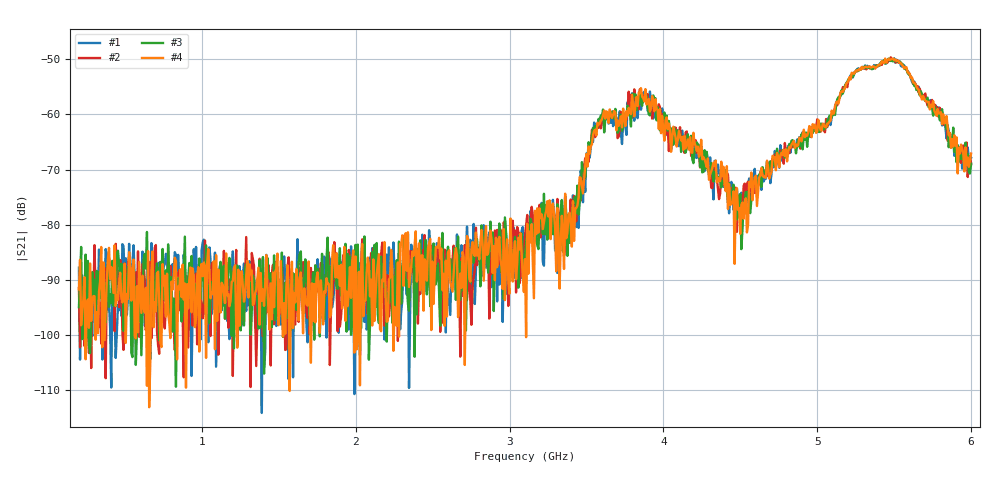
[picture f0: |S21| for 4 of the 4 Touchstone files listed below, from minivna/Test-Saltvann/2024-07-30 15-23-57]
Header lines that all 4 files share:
! NanoVNA-App by OneOfEleven et al v1.1.209 (+OD15)
! Start: 200MHz Stop: 6GHz Points: 801
! S-Parameter data: F S11 S21 S12 S22
# Hz S RI R 50
!  Frequency  S11_Real  S11_Imag  S21_Real  S21_Imag  S12_Real  S12_Imag  S22_Real  S22_Imag
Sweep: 200 MHz to 6 GHz
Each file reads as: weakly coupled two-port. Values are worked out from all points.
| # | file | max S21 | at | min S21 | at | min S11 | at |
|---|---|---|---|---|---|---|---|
| 1 | 0.s2p | -49.80 dB | 5.5 GHz | -114.2 dB | 1.389 GHz | -5.9 dB | 2.941 GHz |
| 2 | 3.s2p | -49.61 dB | 5.478 GHz | -109.5 dB | 1.317 GHz | -5.9 dB | 2.948 GHz |
| 3 | 5.s2p | -49.85 dB | 5.463 GHz | -109.4 dB | 830.8 MHz | -5.9 dB | 2.948 GHz |
| 4 | 7.s2p | -49.84 dB | 5.442 GHz | -113.1 dB | 656.8 MHz | -5.9 dB | 2.948 GHz |
